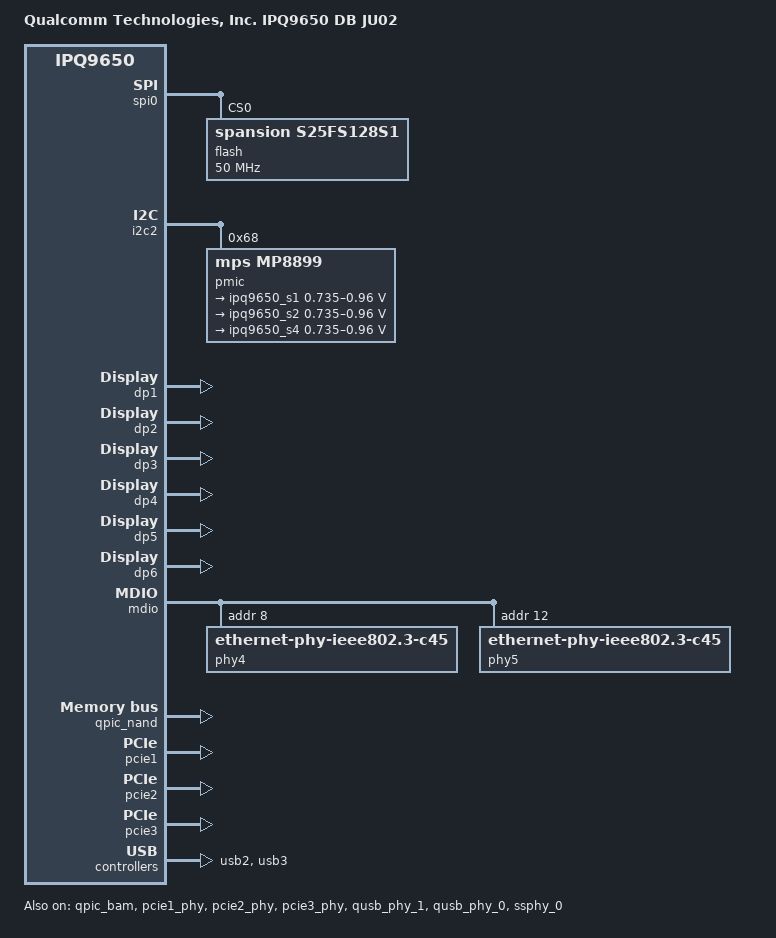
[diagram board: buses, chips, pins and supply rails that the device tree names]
// SPDX-License-Identifier: (GPL-2.0+ OR BSD-3-Clause)
/*
 * IPQ9650 DB JU02 board device tree source
 *
 * Copyright (c) 2020-2021 The Linux Foundation. All rights reserved.
 * Copyright (c) Qualcomm Technologies, Inc. and/or its subsidiaries.
 */

/dts-v1/;

#include "ipq9650-rdp-common.dtsi"
#ifdef __IPQ_MEM_PROFILE_512_MB__
#include "ipq9650-512MB-default-memory.dtsi"
#else
#include "ipq9650-default-memory.dtsi"
#endif

/ {
	model = "Qualcomm Technologies, Inc. IPQ9650 DB JU02";
	compatible = "qcom,ipq9650-db-ju02", "qcom,ipq9650";

	aliases {
		ethernet0 = "/soc/dp1";
		ethernet1 = "/soc/dp2";
		ethernet2 = "/soc/dp3";
		ethernet3 = "/soc/dp4";
		ethernet4 = "/soc/dp5";
		ethernet5 = "/soc/dp6";
	};

	soc@0 {
		qupv3: geniqup@1ac0000 {
			status = "okay";

			spi0: spi@1a80000 {
				pinctrl-0 = <&qup_spi0_default>;
				pinctrl-names = "default";
				status = "okay";

				flash@0 {
					compatible = "spansion,s25fs128s1", "jedec,spi-nor";
					#address-cells = <1>;
					#size-cells = <1>;
					reg = <0>;
					spi-max-frequency = <50000000>;
				};
			};

			i2c0: i2c@1a84000 {
				pinctrl-0 = <&qup_i2c0_default>;
				pinctrl-names = "default";
				status = "disabled";
			};

			i2c1: i2c@1a88000 {
				pinctrl-0 = <&qup_i2c1_default>;
				pinctrl-names = "default";
				status = "disabled";
			};

			i2c2: i2c@1a8c000 {
				pinctrl-0 = <&qup_i2c2_default>;
				pinctrl-names = "default";
				status = "okay";

				pmic@68 {
					compatible = "mps,mp8899";
					reg = <0x68>;

					regulators {
						/* APC_CX */
						ipq9650_s1: buck1 {
							regulator-name = "buck1";
							regulator-min-microvolt = <735000>;
							regulator-max-microvolt = <960000>;
							regulator-always-on;
							regulator-boot-on;
						};

						/* NSP_CX */
						ipq9650_s2: buck2 {
							regulator-name = "buck2";
							regulator-min-microvolt = <735000>;
							regulator-max-microvolt = <960000>;
						};

						/* NSP_MX */
						ipq9650_s4: buck4 {
							regulator-name = "buck4";
							regulator-min-microvolt = <735000>;
							regulator-max-microvolt = <960000>;
						};
					};
				};
			};
		};

		dp1 {
			device_type = "network";
			compatible = "qcom,nss-dp";
			qcom,id = <1>;
			reg = <0x2a500000 0x4000>;
			qcom,mactype = <1>;
			local-mac-address = [000000000000];
			qcom,ppe-offload-disabled = <0>;
			pinctrl-0 = <&pps_state>;
			pinctrl-names = "default";
			interrupts = <GIC_SPI 362 IRQ_TYPE_EDGE_RISING>;
			interrupt-names = "pps_in";
			clocks = <&nsscc NSS_CC_XGMAC0_PTP_REF_CLK>;
			clock-names = "ptp";
		};

		dp2 {
			device_type = "network";
			compatible = "qcom,nss-dp";
			qcom,id = <2>;
			reg = <0x2a504000 0x4000>;
			qcom,mactype = <1>;
			local-mac-address = [000000000000];
			qcom,ppe-offload-disabled = <0>;
			clocks = <&nsscc NSS_CC_XGMAC1_PTP_REF_CLK>;
			clock-names = "ptp";
		};

		dp3 {
			device_type = "network";
			compatible = "qcom,nss-dp";
			qcom,id = <3>;
			reg = <0x2a508000 0x4000>;
			qcom,mactype = <1>;
			local-mac-address = [000000000000];
			qcom,ppe-offload-disabled = <0>;
			clocks = <&nsscc NSS_CC_XGMAC2_PTP_REF_CLK>;
			clock-names = "ptp";
		};

		dp4 {
			device_type = "network";
			compatible = "qcom,nss-dp";
			qcom,id = <4>;
			reg = <0x2a50c000 0x4000>;
			qcom,mactype = <1>;
			local-mac-address = [000000000000];
			qcom,ppe-offload-disabled = <0>;
			clocks = <&nsscc NSS_CC_XGMAC3_PTP_REF_CLK>;
			clock-names = "ptp";
		};

		dp5 {
			device_type = "network";
			compatible = "qcom,nss-dp";
			qcom,id = <5>;
			reg = <0x2a510000 0x4000>;
			qcom,mactype = <1>;
			local-mac-address = [000000000000];
			qcom,ppe-offload-disabled = <0>;
			clocks = <&nsscc NSS_CC_XGMAC4_PTP_REF_CLK>;
			clock-names = "ptp";
		};

		dp6 {
			device_type = "network";
			compatible = "qcom,nss-dp";
			qcom,id = <6>;
			reg = <0x2a514000 0x4000>;
			qcom,mactype = <1>;
			local-mac-address = [000000000000];
			qcom,ppe-offload-disabled = <0>;
			clocks = <&nsscc NSS_CC_XGMAC5_PTP_REF_CLK>;
			clock-names = "ptp";
		};
	};
};

&mdio {
	phy-reset-gpio = <&tlmm 18 GPIO_ACTIVE_LOW>, /* Reset for QCE1204. */
			 <&tlmm 14 GPIO_ACTIVE_LOW>, /* Reset for UNIPHY1 QCA81XXs. */
			 <&tlmm 15 GPIO_ACTIVE_LOW>; /* Reset for UNIPHY2 QCA81XXs. */

	phy4: ethernet-phy@8 {
		compatible = "ethernet-phy-ieee802.3-c45";
		reg = <8>;
	};

	phy5: ethernet-phy@c {
		compatible = "ethernet-phy-ieee802.3-c45";
		reg = <12>;
	};
};

&ess_switch {
	switch_mac_mode1 = <0xd>; /* mac mode for uniphy instance1 */
	switch_mac_mode2 = <0xd>; /* mac mode for uniphy instance2 */

	qcom,port_phyinfo {
		port@4 {
			port_id = <5>;
			phy_address = <8>;
			phy-handle = <&phy4>;
			phy-mode = "usxgmii";
			ethernet-phy-ieee802.3-c45;
		};

		port@5 {
			port_id = <6>;
			phy_address = <12>;
			phy-handle = <&phy5>;
			phy-mode = "usxgmii";
			ethernet-phy-ieee802.3-c45;
		};
	};
};

&qpic_bam {
	status = "okay";
};

&qpic_nand {
	status = "okay";
};

&sdhc {
	max-frequency = <192000000>;
	bus-width = <4>;
	mmc-ddr-1_8v;
	mmc-hs200-1_8v;
	non-removable;
	pinctrl-0 = <&sdc_default_state>;
	pinctrl-names = "default";
	status = "disabled";
};

&pcie1_phy {
	status = "okay";
};

&pcie1 {
	perst-gpio = <&tlmm 28 GPIO_ACTIVE_LOW>;
	status = "okay";

	pcie1_rp {
		reg = <0 0 0 0 0>;

		qcom,mhi@0 {
			reg = <0 0 0 0 0>;
		};
	};
};

&pcie2_phy {
	status = "okay";
};

&pcie2 {
	perst-gpio = <&tlmm 52 GPIO_ACTIVE_LOW>;
	status = "okay";

	pcie2_rp {
		reg = <0 0 0 0 0>;

		qcom,mhi@0 {
			reg = <0 0 0 0 0>;
		};
	};
};

&pcie3_phy {
	status = "okay";
};

&pcie3 {
	perst-gpio = <&tlmm 41 GPIO_ACTIVE_LOW>;
	status = "okay";

	pcie3_rp {
		reg = <0 0 0 0 0>;

		qcom,mhi@0 {
			reg = <0 0 0 0 0>;
		};
	};
};

&qusb_phy_1 {
	status = "okay";
};

&usb2 {
	status = "okay";
};

&qusb_phy_0 {
	status = "okay";
};

&ssphy_0 {
	status = "okay";
};

&usb3 {
	status = "okay";
};

&tlmm {
	qup_i2c0_default: qup-i2c0-default-state {
		qup_i2c0_scl {
			pins = "gpio10";
			function = "qup_se1_l1";
			drive-strength = <8>;
			bias-pull-down;
		};
		qup_i2c0_sda {
			pins = "gpio11";
			function = "qup_se1_l0";
			drive-strength = <8>;
			bias-pull-down;
		};
	};

	qup_i2c1_default: qup-i2c1-default-state {
		qup_i2c1_scl {
			pins = "gpio33";
			function = "qup_se2_l1";
			drive-strength = <8>;
			bias-pull-up;
		};
		qup_i2c1_sda {
			pins = "gpio34";
			function = "qup_se2_l0";
			drive-strength = <8>;
			bias-pull-up;
		};
	};

	pcie0_default_state: pcie0-default-state {
		perst-n-pins {
			pins = "gpio25";
			function = "gpio";
			drive-strength = <8>;
			bias-pull-down;
			output-low;
		};
	};

	pcie1_default_state: pcie1-default-state {
		perst-n-pins {
			pins = "gpio28";
			function = "gpio";
			drive-strength = <8>;
			bias-pull-down;
			output-low;
		};
	};

	pcie2_default_state: pcie2-default-state {
		perst-n-pins {
			pins = "gpio52";
			function = "gpio";
			drive-strength = <8>;
			bias-pull-down;
			output-low;
		};
	};

	pcie3_default_state: pcie3-default-state {
		perst-n-pins {
			pins = "gpio41";
			function = "gpio";
			drive-strength = <8>;
			bias-pull-down;
			output-low;
		};
	};

	pcie4_default_state: pcie4-default-state {
		perst-n-pins {
			pins = "gpio31";
			function = "gpio";
			drive-strength = <8>;
			bias-pull-down;
			output-low;
		};
	};

	sdc_default_state: sdc-default-state {
		clk-pins {
			pins = "gpio5";
			function = "sdc_clk";
			drive-strength = <8>;
			bias-disable;
		};

		cmd-pins {
			pins = "gpio4";
			function = "sdc_cmd";
			drive-strength = <8>;
			bias-pull-up;
		};

		data-pins {
			pins = "gpio0", "gpio1", "gpio2", "gpio3";
			function = "sdc_data";
			drive-strength = <8>;
			bias-pull-up;
		};
	};
};

&CPU0 {
	cpu-supply = <&ipq9650_s1>;
};

&CPU1 {
	cpu-supply = <&ipq9650_s1>;
};

&CPU2 {
	cpu-supply = <&ipq9650_s1>;
};

&CPU3 {
	cpu-supply = <&ipq9650_s1>;
};

&CPU4 {
	cpu-supply = <&ipq9650_s1>;
};

&remoteproc_cdsp {
	cx-supply = <&ipq9650_s2>;
	mx-supply = <&ipq9650_s4>;
};
